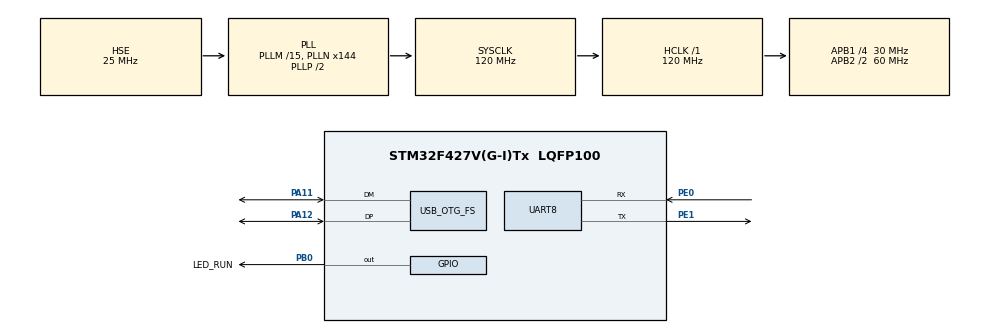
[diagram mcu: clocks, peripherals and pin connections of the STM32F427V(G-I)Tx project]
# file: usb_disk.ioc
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FATFS._CODE_PAGE=936
FATFS._FS_EXFAT=1
FATFS._MAX_SS=512
FATFS._MIN_SS=512
FATFS._USE_LFN=2
FREERTOS.Tasks01=defaultTask,0,512,StartDefaultTask,Default,NULL,Dynamic,NULL,NULL
FREERTOS.configUSE_COUNTING_SEMAPHORES=1
FREERTOS.configUSE_RECURSIVE_MUTEXES=1
Mcu.Family=STM32F4
Mcu.Name=STM32F427V(G-I)Tx
Mcu.Package=LQFP100
NVIC.OTG_FS_IRQn=true\:5\:0\:true\:false\:true\:true\:false\:true
NVIC.PriorityGroup=NVIC_PRIORITYGROUP_4
NVIC.TIM2_IRQn=true\:0\:0\:false\:false\:true\:false\:false\:true
NVIC.TimeBase=TIM2_IRQn
NVIC.TimeBaseIP=TIM2
PA11.Mode=Host_Only
PA11.Signal=USB_OTG_FS_DM
PA12.Mode=Host_Only
PA12.Signal=USB_OTG_FS_DP
PA13.Mode=Serial_Wire
PA13.Signal=SYS_JTMS-SWDIO
PA14.Mode=Serial_Wire
PA14.Signal=SYS_JTCK-SWCLK
PB0.GPIO_Label=LED_RUN
PB0.Signal=GPIO_Output
PC14/OSC32_IN.Mode=LSE-External-Oscillator
PC14/OSC32_IN.Signal=RCC_OSC32_IN
PC15/OSC32_OUT.Mode=LSE-External-Oscillator
PC15/OSC32_OUT.Signal=RCC_OSC32_OUT
PE0.Mode=Asynchronous
PE0.Signal=UART8_RX
PE1.Mode=Asynchronous
PE1.Signal=UART8_TX
PH0/OSC_IN.Mode=HSE-External-Oscillator
PH0/OSC_IN.Signal=RCC_OSC_IN
PH1/OSC_OUT.Mode=HSE-External-Oscillator
PH1/OSC_OUT.Signal=RCC_OSC_OUT
ProjectManager.HeapSize=0x2000
ProjectManager.StackSize=0x4000
ProjectManager.TargetToolchain=MDK-ARM V5.27
RCC.48MHZClocksFreq_Value=48000000
RCC.AHBFreq_Value=120000000
RCC.APB1CLKDivider=RCC_HCLK_DIV4
RCC.APB1Freq_Value=30000000
RCC.APB1TimFreq_Value=60000000
RCC.APB2CLKDivider=RCC_HCLK_DIV2
RCC.APB2Freq_Value=60000000
RCC.APB2TimFreq_Value=120000000
RCC.CortexFreq_Value=120000000
RCC.HCLKFreq_Value=120000000
RCC.HSE_VALUE=25000000
RCC.HSI_VALUE=16000000
RCC.PLLM=15
RCC.PLLN=144
RCC.PLLQ=5
RCC.SYSCLKFreq_VALUE=120000000
RCC.SYSCLKSource=RCC_SYSCLKSOURCE_PLLCLK
RCC.VCOOutputFreq_Value=240000000
UART8.VirtualMode=Asynchronous
USB_HOST.USBH_DEBUG_LEVEL-MSC_FS=2
USB_HOST.USBH_HandleTypeDef-MSC_FS=hUsbHostFS
USB_HOST.USBH_PROCESS_STACK_SIZE-MSC_FS=512
USB_HOST.USBH_USE_OS-MSC_FS=0
USB_HOST.VirtualModeFS=Msc
USB_OTG_FS.VirtualMode=Host_Only
USB_OTG_FS.phy_itface=HCD_PHY_EMBEDDED
VP_FATFS_VS_USB.Mode=USB
VP_FREERTOS_VS_CMSIS_V1.Mode=CMSIS_V1
VP_SYS_VS_tim2.Mode=TIM2
VP_USB_HOST_VS_USB_HOST_MSC_FS.Mode=MSC_FS
board=custom

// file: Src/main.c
/* USER CODE BEGIN Header */
/**
  ******************************************************************************
  * @file           : main.c
  * @brief          : Main program body
  ******************************************************************************
  * @attention
  *
  * <h2><center>&copy; Copyright (c) 2020 STMicroelectronics.
  * All rights reserved.</center></h2>
  *
  * This software component is licensed by ST under Ultimate Liberty license
  * SLA0044, the "License"; You may not use this file except in compliance with
  * the License. You may obtain a copy of the License at:
  *                             www.st.com/SLA0044
  *
  ******************************************************************************
  */
/* USER CODE END Header */

#include "main.h"
#include "cmsis_os.h"
#include "fatfs.h"
#include "usart.h"
#include "usb_host.h"
#include "gpio.h"

/* USER CODE BEGIN Includes */
#include "usb_host.h"
#include "usbh_def.h"
#include "ff.h"
/* USER CODE END Includes */

/* USER CODE BEGIN PV */

extern ApplicationTypeDef Appli_state;
extern USBH_HandleTypeDef hUsbHostFS;
extern char USBHPath[4];  		/* USBH logical drive path */

FATFS USBDISKFatFs;           /* File system object for USB disk logical drive */
FIL   MyFile;                 /* File object */

/* USER CODE END PV */

void SystemClock_Config(void);
void MX_FREERTOS_Init(void);

/* USER CODE BEGIN 0 */
void MSC_Application(void);
/* USER CODE END 0 */

int main(void)
{

  /* MCU Configuration--------------------------------------------------------*/

  /* Reset of all peripherals, Initializes the Flash interface and the Systick. */
  HAL_Init();

  /* Configure the system clock */
  SystemClock_Config();

  /* Initialize all configured peripherals */
  MX_GPIO_Init();
//  MX_FATFS_Init();
  MX_UART8_Init();
  /* USER CODE BEGIN 2 */
  printf("start .... usb test \r\n");
  /* USER CODE END 2 */

  /* Call init function for freertos objects (in freertos.c) */
  MX_FREERTOS_Init();

  /* Start scheduler */
  osKernelStart();

  /* We should never get here as control is now taken by the scheduler */

  /* Infinite loop */
  while (1)
  {

    /* USER CODE BEGIN 3 */

//    switch(Appli_state)
//    {
//      case APPLICATION_READY:
//        MSC_Application();
//        Appli_state = APPLICATION_DISCONNECT;
//        break;
//
//      case APPLICATION_DISCONNECT:
//        f_mount(NULL, "", 0);
//        break;
//
//      default:
//        break;
//    }

  }
  /* USER CODE END 3 */
}

void SystemClock_Config(void)
{
  RCC_OscInitTypeDef RCC_OscInitStruct = {0};
  RCC_ClkInitTypeDef RCC_ClkInitStruct = {0};

  /** Configure the main internal regulator output voltage
  */
  __HAL_RCC_PWR_CLK_ENABLE();
  __HAL_PWR_VOLTAGESCALING_CONFIG(PWR_REGULATOR_VOLTAGE_SCALE3);
  /** Initializes the CPU, AHB and APB busses clocks
  */
  RCC_OscInitStruct.OscillatorType = RCC_OSCILLATORTYPE_HSE;
  RCC_OscInitStruct.HSEState = RCC_HSE_ON;
  RCC_OscInitStruct.PLL.PLLState = RCC_PLL_ON;
  RCC_OscInitStruct.PLL.PLLSource = RCC_PLLSOURCE_HSE;
  RCC_OscInitStruct.PLL.PLLM = 15;
  RCC_OscInitStruct.PLL.PLLN = 144;
  RCC_OscInitStruct.PLL.PLLP = RCC_PLLP_DIV2;
  RCC_OscInitStruct.PLL.PLLQ = 5;
  if (HAL_RCC_OscConfig(&RCC_OscInitStruct) != HAL_OK)
  {
    Error_Handler();
  }
  /** Initializes the CPU, AHB and APB busses clocks
  */
  RCC_ClkInitStruct.ClockType = RCC_CLOCKTYPE_HCLK|RCC_CLOCKTYPE_SYSCLK
                              |RCC_CLOCKTYPE_PCLK1|RCC_CLOCKTYPE_PCLK2;
  RCC_ClkInitStruct.SYSCLKSource = RCC_SYSCLKSOURCE_PLLCLK;
  RCC_ClkInitStruct.AHBCLKDivider = RCC_SYSCLK_DIV1;
  RCC_ClkInitStruct.APB1CLKDivider = RCC_HCLK_DIV4;
  RCC_ClkInitStruct.APB2CLKDivider = RCC_HCLK_DIV2;

  if (HAL_RCC_ClockConfig(&RCC_ClkInitStruct, FLASH_LATENCY_3) != HAL_OK)
  {
    Error_Handler();
  }
}

/* USER CODE BEGIN 4 */
void MSC_Application(void)
{
  FRESULT res;                             /* FatFs function common result code */
  uint32_t byteswrite;
  uint8_t wtext[] = "hello world!";
if(FATFS_LinkDriver(&USBH_Driver, USBHPath) == 0){
  /* Register the file system object to the FatFs module */
  if(f_mount(&USBDISKFatFs, (TCHAR const*)USBHPath, 0) != FR_OK){
    /* FatFs Initialization Error */
    Error_Handler();
  }else{
    /* Create and Open a new text file object with write access */
    if(f_open(&MyFile, "hello.txt", FA_CREATE_ALWAYS | FA_WRITE) != FR_OK){
      /* 'STM32.TXT' file Open for write Error */
      Error_Handler();
    }else{
      res = f_write(&MyFile, wtext, sizeof(wtext), (void *)&byteswrite);
      if(byteswrite == 0 || (res != FR_OK)){
        Error_Handler();
      }else{
        /* Close the open text file */
        f_close(&MyFile);
        printf("write sucessful \r\n");
      }
    }
  }
}

FATFS_UnLinkDriver(USBHPath);

}

/*
---------------------------------------------------
USB Device Attached
PID: 1000h
VID: 90ch
Address (#1) assigned.
Manufacturer : General
Product : USB Flash Disk
Serial Number : 0425440000006958
Enumeration done.
This device has only 1 configuration.
Default configuration set.
Switching to Interface (#0)
Class    : 8h
SubClass : 6h
Protocol : 50h
MSC class started.
Number of supported LUN: 2
LUN #0:
Inquiry Vendor  : General
Inquiry Product : USB Flash Disk
Inquiry Version : 1100
MSC Device ready
MSC Device capacity : 3758095872 Bytes
Block number : 15728639
Block Size   : 512
LUN #1:
Inquiry Vendor  : General
Inquiry Product : USB Flash Disk
Inquiry Version : 1100
---------------------------------------------------
start .... usb test
USB Device Attached
PID: 226h
VID: 1908h
Address (#1) assigned.
Manufacturer : N/A
Product : N/A
Serial Number : N/A
Enumeration done.
This device has only 1 configuration.
Default configuration set.
Switching to Interface (#0)
Class    : 8h
SubClass : 6h
Protocol : 50h
MSC class started.
Number of supported LUN: 2
LUN #0:
Inquiry Vendor  : Generic
Inquiry Product : Mass-Storage
Inquiry Version : 1.11
MSC Device ready
MSC Device capacity : 501218816 Bytes
Block number : 978943
Block Size   : 512
LUN #1:
Inquiry Vendor  : Generic
Inquiry Product : Mass-Storage
Inquiry Version : 1.11
MSC Device ready
MSC Device capacity : 501218816 Bytes
Block number : 978943
Block Size   : 512
---------------------------------------------------
USB Device Attached
PID: b113h
VID: 1005h
Address (#1) assigned.
Manufacturer :
Product : USB FLASH DRIVE
Serial Number : 070224D04ED6C013
Enumeration done.
This device has only 1 configuration.
Default configuration set.
Switching to Interface (#0)
Class    : 8h
SubClass : 6h
Protocol : 50h
MSC class started.
Number of supported LUN: 2
LUN #0:
Inquiry Vendor  :
Inquiry Product : USB FLASH DRIVE
Inquiry Version : PMAP
MSC Device ready
MSC Device capacity : 3128950272 Bytes
Block number : 31277055
Block Size   : 512
LUN #1:
Inquiry Vendor  :
Inquiry Product : USB FLASH DRIVE
Inquiry Version : PMAP
Sense Key  : 5
Additional Sense Code : 25
Additional Sense Code Qualifier: 20
---------------------------------------------------
*/
/* USER CODE END 4 */

void HAL_TIM_PeriodElapsedCallback(TIM_HandleTypeDef *htim)
{
  if (htim->Instance == TIM2) {
    HAL_IncTick();
  }
}

void Error_Handler(void)
{
}

/************************ (C) COPYRIGHT STMicroelectronics *****END OF FILE****/

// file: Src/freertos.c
/* USER CODE BEGIN Header */
/**
  ******************************************************************************
  * File Name          : freertos.c
  * Description        : Code for freertos applications
  ******************************************************************************
  * @attention
  *
  * <h2><center>&copy; Copyright (c) 2020 STMicroelectronics.
  * All rights reserved.</center></h2>
  *
  * This software component is licensed by ST under Ultimate Liberty license
  * SLA0044, the "License"; You may not use this file except in compliance with
  * the License. You may obtain a copy of the License at:
  *                             www.st.com/SLA0044
  *
  ******************************************************************************
  */
/* USER CODE END Header */

#include "FreeRTOS.h"
#include "task.h"
#include "main.h"
#include "cmsis_os.h"

osThreadId defaultTaskHandle;

/* USER CODE BEGIN FunctionPrototypes */
extern void MSC_Application(void);
/* USER CODE END FunctionPrototypes */

void StartDefaultTask(void const * argument);

extern void MX_FATFS_Init(void);
extern void MX_USB_HOST_Init(void);
void MX_FREERTOS_Init(void); /* (MISRA C 2004 rule 8.1) */

/* GetIdleTaskMemory prototype (linked to static allocation support) */
void vApplicationGetIdleTaskMemory( StaticTask_t **ppxIdleTaskTCBBuffer, StackType_t **ppxIdleTaskStackBuffer, uint32_t *pulIdleTaskStackSize );

/* USER CODE BEGIN GET_IDLE_TASK_MEMORY */
static StaticTask_t xIdleTaskTCBBuffer;
static StackType_t xIdleStack[configMINIMAL_STACK_SIZE];

void vApplicationGetIdleTaskMemory( StaticTask_t **ppxIdleTaskTCBBuffer, StackType_t **ppxIdleTaskStackBuffer, uint32_t *pulIdleTaskStackSize )
{
  *ppxIdleTaskTCBBuffer = &xIdleTaskTCBBuffer;
  *ppxIdleTaskStackBuffer = &xIdleStack[0];
  *pulIdleTaskStackSize = configMINIMAL_STACK_SIZE;
  /* place for user code */
}
/* USER CODE END GET_IDLE_TASK_MEMORY */

void MX_FREERTOS_Init(void) {

  /* Create the thread(s) */
  /* definition and creation of defaultTask */
  osThreadDef(defaultTask, StartDefaultTask, osPriorityNormal, 0, 512);
  defaultTaskHandle = osThreadCreate(osThread(defaultTask), NULL);

}

void StartDefaultTask(void const * argument)
{
  /* init code for USB_HOST */
    MX_FATFS_Init();
  MX_USB_HOST_Init();
  /* USER CODE BEGIN StartDefaultTask */
  /* Infinite loop */
  for(;;)
  {
    MSC_Application();
    osDelay(100);
  }
  /* USER CODE END StartDefaultTask */
}

/************************ (C) COPYRIGHT STMicroelectronics *****END OF FILE****/
